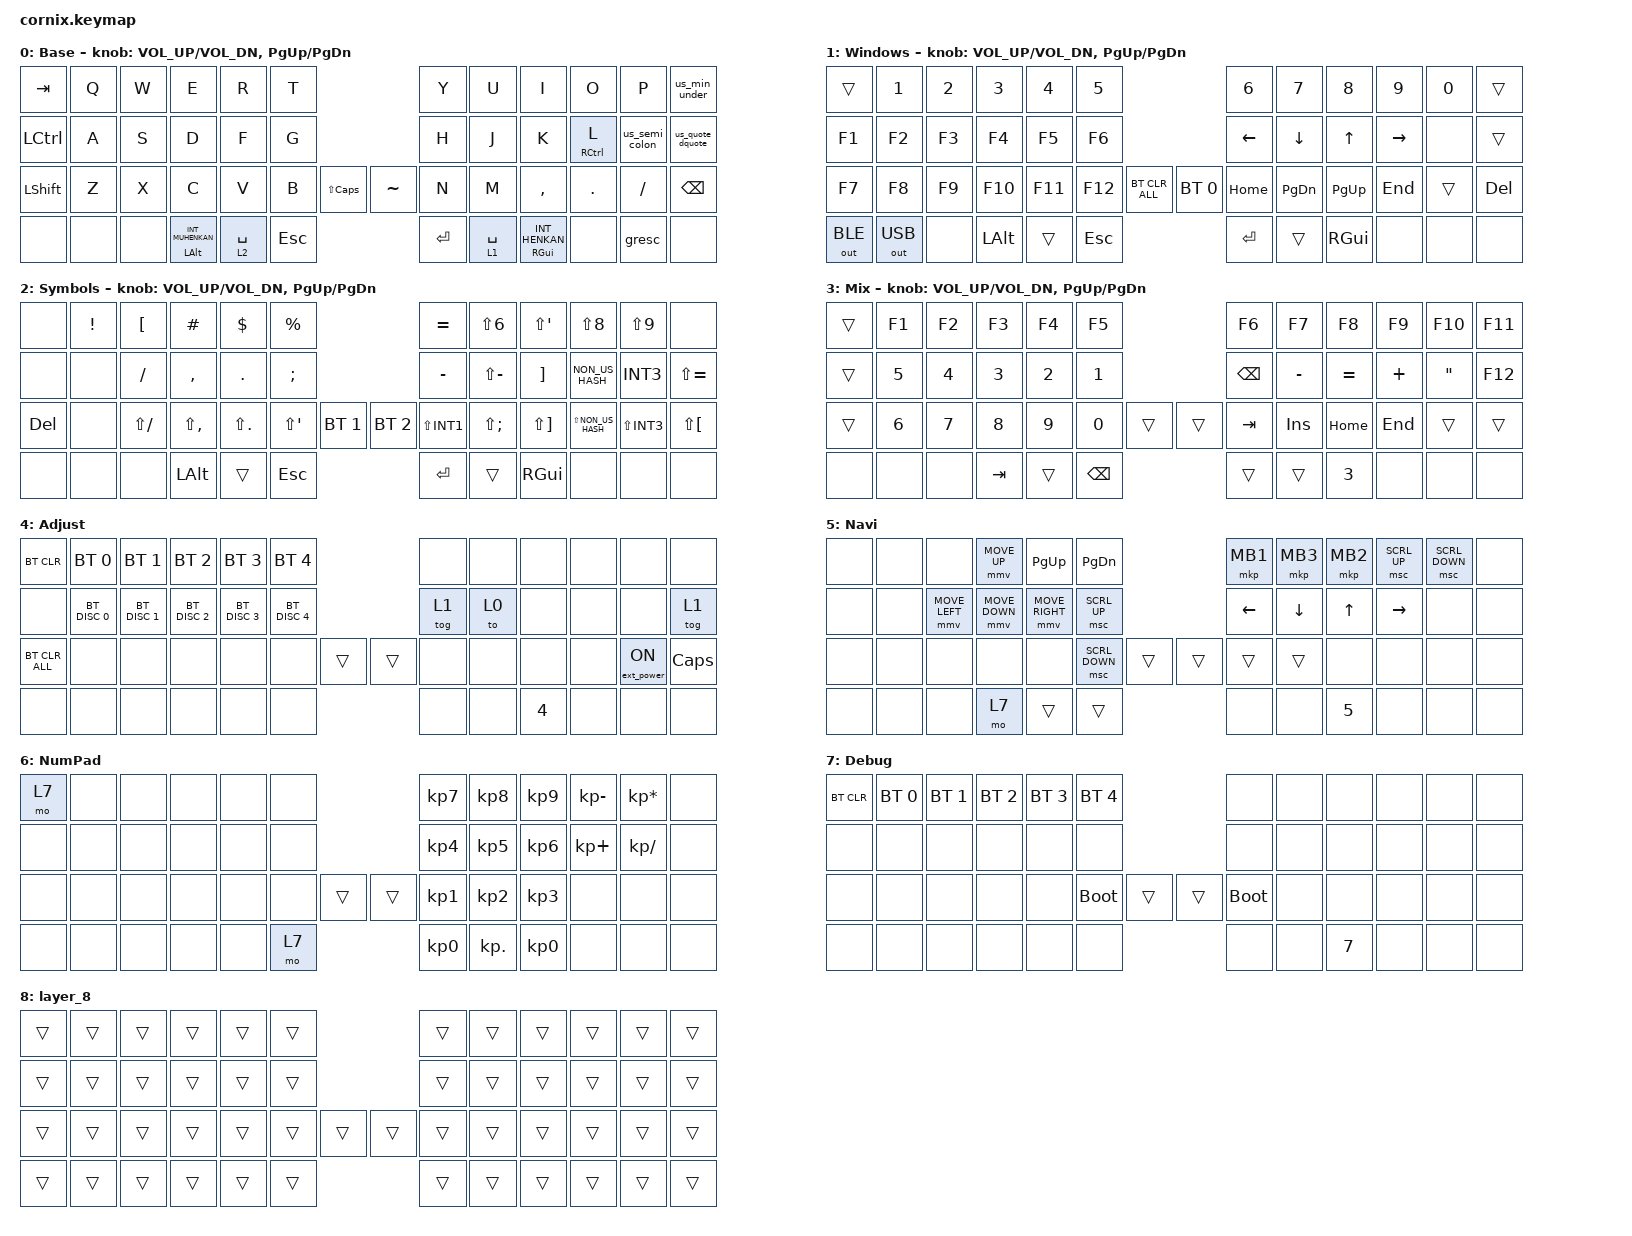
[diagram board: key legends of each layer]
/*
 * Copyright (c) 2020 The ZMK Contributors
 *
 * SPDX-License-Identifier: MIT
 */

#include "zmk-helpers/helper.h"
#include "includes/cornix54.h"

// tap windows for ctl alt and gui

#define HM_TAPPING_TERM 250
#define HM_TAPPING_REPEAT 210

// quick tapping for shift

#define HM_TAPPING_TERM_FAST 200
#define HM_PRIOR_IDLE 70
#define BASE 0
#define WIN 1
#define LOWER 2
#define RAISE 3
#define ADJUST 4
#define NAVI   5
#define NUM    6
#define DEBUG  7

// https://github.com/urob/zmk-config/tree/main#timeless-homerow-mods

#define KEYS_L LT0 LT1 LT2 LT3 LT4 LT5 LM0 LM1 LM2 LM3 LM4 LM5 LB0 LB1 LB2 LB3 LB4 LB5  // left hand
#define KEYS_R RT0 RT1 RT2 RT3 RT4 RT5 RM0 RM1 RM2 RM3 RM4 RM5 RB0 RB1 RB2 RB3 RB4 RB5  // right hand
#define THUMBS LH1 LH0 RH0 RH1
#define KEYS_T LH1 LH0 RH0 RH1
#define ZMK_POINTING_DEFAULT_SCRL_VAL 15

#include <behaviors.dtsi>
#include <dt-bindings/zmk/bt.h>
#include <dt-bindings/zmk/ext_power.h>
#include <dt-bindings/zmk/keys.h>
#include <dt-bindings/zmk/outputs.h>
#include <dt-bindings/zmk/pointing.h>

/ {
    // Activate ADJUST layer by pressing raise and lower

    behaviors {
        hm_l: homerow_mods_left {
            compatible = "zmk,behavior-hold-tap";
            #binding-cells = <2>;
            bindings = <&kp>, <&kp>;

            flavor = "balanced";
            tapping-term-ms = <HM_TAPPING_TERM>;
            quick-tap-ms = <200>;                // repeat on tap-into-hold
            require-prior-idle-ms = <HM_PRIOR_IDLE>;
            hold-trigger-key-positions = <KEYS_R KEYS_T>;
            hold-trigger-on-release;
        };

        hm_r: homerow_mods_right {
            compatible = "zmk,behavior-hold-tap";
            #binding-cells = <2>;
            bindings = <&kp>, <&kp>;

            flavor = "balanced";
            tapping-term-ms = <HM_TAPPING_TERM>;
            quick-tap-ms = <200>;
            require-prior-idle-ms = <HM_PRIOR_IDLE>;
            hold-trigger-key-positions = <KEYS_L KEYS_T>;
            hold-trigger-on-release;
        };

        // Positional Homerow mods for shift
        // Use faster tapping term and disable some features that may
        // cause false negatives.

        hm_shift_l: hm_shift_l {
            compatible = "zmk,behavior-hold-tap";
            #binding-cells = <2>;
            bindings = <&kp>, <&kp>;

            //flavor = "balanced";

            flavor = "balanced";
            tapping-term-ms = <HM_TAPPING_TERM_FAST>;
            quick-tap-ms = <200>;
            require-prior-idle-ms = <HM_PRIOR_IDLE>;
            hold-trigger-key-positions = <KEYS_R KEYS_T>;
            hold-trigger-on-release;
        };

        hm_shift_r: hm_shift_r {
            compatible = "zmk,behavior-hold-tap";
            #binding-cells = <2>;
            bindings = <&kp>, <&kp>;

            flavor = "balanced";
            tapping-term-ms = <HM_TAPPING_TERM_FAST>;
            quick-tap-ms = <200>;
            require-prior-idle-ms = <HM_PRIOR_IDLE>;
            hold-trigger-key-positions = <KEYS_L KEYS_T>;

            // for quick tapping; shift+~

            hold-trigger-on-release;
        };

        /*
         * Non-Positional Homerow Mods
         * Used for &mm_grescm_gui behavior on left hand.
         *
         * Usage: &hm LSHFT T
         * Tap: T
         * Tap-Tap-Hold: Repeat T
         * Hold: LSHIFT
         */

        hm: homerow_mods {
            compatible = "zmk,behavior-hold-tap";
            #binding-cells = <2>;
            bindings = <&kp>, <&kp>;

            flavor = "balanced";
            tapping-term-ms = <HM_TAPPING_TERM>;
            quick-tap-ms = <200>;
        };

        lt: layer_tap {
            compatible = "zmk,behavior-hold-tap";
            #binding-cells = <2>;
            bindings = <&mo>, <&kp>;

            flavor = "hold-preferred";
            tapping-term-ms = <HM_TAPPING_TERM>;
            quick-tap-ms = <200>;
        };

        // 1. USの「-」と「_」の組み合わせ

        us_min_under: us_min_under {
            compatible = "zmk,behavior-mod-morph";
            #binding-cells = <0>;
            bindings = <&kp MINUS>, <&kp LS(INT1)>;

            mods = <(MOD_LSFT|MOD_RSFT)>;
        };

        // 2. USの「;」と「:」の組み合わせ

        us_semi_colon: us_semi_colon {
            compatible = "zmk,behavior-mod-morph";
            #binding-cells = <0>;
            bindings = <&kp SEMI>, <&kp SQT>;

            mods = <(MOD_LSFT|MOD_RSFT)>;
        };

        // 3. USの「'」と「"」の組み合わせ

        us_quote_dquote: us_quote_dquote {
            compatible = "zmk,behavior-mod-morph";
            #binding-cells = <0>;
            bindings = <&kp LS(N7)>, <&kp LS(N2)>;

            mods = <(MOD_LSFT|MOD_RSFT)>;
        };
    };

    conditional_layers {
        compatible = "zmk,conditional-layers";

        adjust_layer {
            if-layers = <3 2>;
            then-layer = <4>;
        };
    };

    combos {
        compatible = "zmk,combos";

        cb_ltm {
            bindings = <&kp ESC>;
            key-positions = <2 4>;
            layers = <0 1>;
        };

        cb_lm {
            bindings = <&kp TAB>;
            key-positions = <14 16>;
            layers = <0 1>;
        };

        cb_enter {
            bindings = <&kp RET>;
            key-positions = <21 19>;
            layers = <0 1>;
        };

        layer3 {
            bindings = <&kp N3>;
            key-positions = <5 6>;
        };

        layer4 {
            bindings = <&kp N4>;
            key-positions = <5 6>;
        };
    };

    keymap {
        compatible = "zmk,keymap";

        default_layer {
            display-name = "Base";

            // ------------------------------------------------------------------------------------------------------------
            // |   `   |  1  |  2  |  3   |  4   |  5   |                   |  6   |  7    |  8    |  9   |   0   |       |
            // |  ESC  |  Q  |  W  |  E   |  R   |  T   |                   |  Y   |  U    |  I    |  O   |   P   | BKSPC |
            // |  TAB  |  A  |  S  |  D   |  F   |  G   |                   |  H   |  J    |  K    |  L   |   ;   |   '   |
            // | SHIFT |  Z  |  X  |  C   |  V   |  B   |  MUTE  |  |       |  N   |  M    |  ,    |  .   |   /   | SHIFT |
            //               | GUI | ALT  | CTRL | LOWER|  ENTER |  | SPACE | RAISE| CTRL  | ALT   | GUI  |

            bindings = <
&kp TAB         &kp Q  &kp W  &kp E                      &kp R        &kp T                                 &kp Y      &kp U        &kp I                     &kp O        &kp P           &us_min_under
&kp LCTRL       &kp A  &kp S  &kp D                      &kp F        &kp G                                 &kp H      &kp J        &kp K                     &hm RCTRL L  &us_semi_colon  &us_quote_dquote
&kp LEFT_SHIFT  &kp Z  &kp X  &kp C                      &kp V        &kp B    &kp LS(CAPSLOCK)  &kp TILDE  &kp N      &kp M        &kp COMMA                 &kp DOT      &kp FSLH        &kp BACKSPACE
&none           &none  &none  &mt LEFT_ALT INT_MUHENKAN  &lt 2 SPACE  &kp ESC                               &kp ENTER  &lt 1 SPACE  &mt RIGHT_GUI INT_HENKAN  &none        &gresc          &none
            >;

            sensor-bindings = <&inc_dec_kp C_VOL_UP C_VOL_DN &inc_dec_kp PG_UP PG_DN>;
        };

        win_layer {
            display-name = "Windows";

            // ------------------------------------------------------------------------------------------------------------
            // |   `   |  1  |  2  |  3   |  4   |  5   |                   |  6   |  7    |  8    |  9   |   0   |       |
            // |  ESC  |  Q  |  W  |  E   |  R   |  T   |                   |  Y   |  U    |  I    |  O   |   P   | BKSPC |
            // |  TAB  |  A  |  S  |  D   |  F   |  G   |                   |  H   |  J    |  K    |  L   |   ;   |   '   |
            // | SHIFT |  Z  |  X  |  C   |  V   |  B   |  MUTE  |  |       |  N   |  M    |  ,    |  .   |   /   | SHIFT |
            //               | GUI | ALT  | CTRL | LOWER|  ENTER |  | SPACE | RAISE| CTRL  | ALT   | GUI  |

            bindings = <
&trans        &kp NUMBER_1  &kp NUMBER_2  &kp NUMBER_3  &kp NUMBER_4  &kp N5                                 &kp NUMBER_6  &kp N7         &kp N8         &kp N9     &kp N0  &trans
&kp F1        &kp F2        &kp F3        &kp F4        &kp F5        &kp F6                                 &kp LEFT      &kp DOWN       &kp UP         &kp RIGHT  &none   &trans
&kp F7        &kp F8        &kp F9        &kp F10       &kp F11       &kp F12  &bt BT_CLR_ALL  &bt BT_SEL 0  &kp HOME      &kp PAGE_DOWN  &kp PAGE_UP    &kp END    &trans  &kp DEL
&out OUT_BLE  &out OUT_USB  &none         &kp LEFT_ALT  &trans        &kp ESC                                &kp ENTER     &trans         &kp RIGHT_GUI  &none      &none   &none
            >;

            sensor-bindings = <&inc_dec_kp C_VOL_UP C_VOL_DN &inc_dec_kp PG_UP PG_DN>;
        };

        Symbol_layer {
            display-name = "Symbols";

            // TODO: Some binds are waiting for shifted keycode support.
            // -------------------------------
            // |       |  F1 |  F2 |  F3  |  F4  |  F5  |                   |  F6  |  F7   |  F8   |  F9  |  F10  |  F11  |
            // |   `   |  1  |  2  |  3   |  4   |  5   |                   |  6   |  7    |  8    |  9   |   0   |  F12  |
            // |       |  !  |  @  |  #   |  $   |  %   |                   |  ^   |  &    |  *    |  (   |   )   |   |   |
            // |       |  =  |  -  |  +   |  {   |  }   |        |  |       |  [   |  ]    |  ;    |  :   |   \   |       |
            //               |     |      |      |      |        |  |       |      |       |       |      |

            bindings = <
&none    &kp EXCL  &kp LBKT       &kp HASH       &kp DLLR        &kp PRCNT                                &kp EQUAL     &kp LS(NUMBER_6)  &kp LS(SQT)    &kp LS(NUMBER_8)     &kp LS(NUMBER_9)  &none
&none    &none     &kp SLASH      &kp COMMA      &kp PERIOD      &kp SEMI                                 &kp MINUS     &kp LS(MINUS)     &kp RBKT       &kp NON_US_HASH      &kp INT3          &kp LS(EQUAL)
&kp DEL  &none     &kp LS(SLASH)  &kp LS(COMMA)  &kp LS(PERIOD)  &kp LS(SQT)  &bt BT_SEL 1  &bt BT_SEL 2  &kp LS(INT1)  &kp LS(SEMI)      &kp LS(RBKT)   &kp LS(NON_US_HASH)  &kp LS(INT3)      &kp LS(LBKT)
&none    &none     &none          &kp LEFT_ALT   &trans          &kp ESC                                  &kp ENTER     &trans            &kp RIGHT_GUI  &none                &none             &none
            >;

            sensor-bindings = <&inc_dec_kp C_VOL_UP C_VOL_DN &inc_dec_kp PG_UP PG_DN>;
        };

        Mix_layer {
            display-name = "Mix";

            // ------------------------------------------------------------------------------------------------------------
            // | BTCLR | BT1  | BT2  |  BT3  |  BT4  |  BT5 |                |      |      |       |      |       |       |
            // |       | INS  | PSCR | GUI   |       |      |                | PGUP |      |   ^   |      |       |       |
            // |       | ALT  | CTRL | SHIFT |       | CAPS |                | PGDN |   <- |   v   |  ->  |  DEL  | BKSPC |
            // |       | UNDO | CUT  | COPY  | PASTE |      |      |  |      |      |      |       |      |       |       |
            //                |      |       |       |      |      |  |      |      |      |       |      |

            bindings = <
&trans  &kp F1  &kp F2  &kp F3   &kp F4  &kp F5                         &kp F6    &kp F7     &kp F8     &kp F9    &kp F10  &kp F11
&trans  &kp N5  &kp N4  &kp N3   &kp N2  &kp N1                         &kp BSPC  &kp MINUS  &kp EQUAL  &kp PLUS  &kp DQT  &kp F12
&trans  &kp N6  &kp N7  &kp N8   &kp N9  &kp N0         &trans  &trans  &kp TAB   &kp INS    &kp HOME   &kp END   &trans   &trans
&none   &none   &none   &kp TAB  &trans  &kp BACKSPACE                  &trans    &trans     &kp N3     &none     &none    &none
            >;

            sensor-bindings = <&inc_dec_kp C_VOL_UP C_VOL_DN &inc_dec_kp PG_UP PG_DN>;
        };

        Adjust_layer {
            display-name = "Adjust";

            // ----------------------------------------------------------------------------------------------------------------------------
            // | BTCLR  |  BT1    |  BT2    |   BT3   |   BT4   |   BT5   |                  |      |      |       |      |       |       |
            // | moDEBUG| RGB_HUD | RGB_HUI | RGB_SAD | RGB_SAI | RGB_EFF |                  |      |      |       |      |       |       |
            // | EXTPWR | RGB_BRD | RGB_BRI |         |         |         |                  |      |      |       |      |       |       |
            // |        |         |         |         |         |         | RGB_TOG | |      |      |      |       |      |       |       |
            //                    |         |         |         |         |         | |      |      |      |       |      |

            bindings = <
&bt BT_CLR      &bt BT_SEL 0   &bt BT_SEL 1   &bt BT_SEL 2   &bt BT_SEL 3   &bt BT_SEL 4                   &none   &none  &none   &none  &none             &none
&none           &bt BT_DISC 0  &bt BT_DISC 1  &bt BT_DISC 2  &bt BT_DISC 3  &bt BT_DISC 4                  &tog 1  &to 0  &none   &none  &none             &tog 1
&bt BT_CLR_ALL  &none          &none          &none          &none          &none          &trans  &trans  &none   &none  &none   &none  &ext_power EP_ON  &kp CAPSLOCK
&none           &none          &none          &none          &none          &none                          &none   &none  &kp N4  &none  &none             &none
            >;
        };

        Navi_layer {
            display-name = "Navi";
            bindings = <
&none  &none  &none           &mmv MOVE_UP    &kp PAGE_UP      &kp PAGE_DOWN                   &mkp MB1  &mkp MB3  &mkp MB2  &msc SCRL_UP  &msc SCRL_DOWN  &none
&none  &none  &mmv MOVE_LEFT  &mmv MOVE_DOWN  &mmv MOVE_RIGHT  &msc SCRL_UP                    &kp LEFT  &kp DOWN  &kp UP    &kp RIGHT     &none           &none
&none  &none  &none           &none           &none            &msc SCRL_DOWN  &trans  &trans  &trans    &trans    &none     &none         &none           &none
&none  &none  &none           &mo 7           &trans           &trans                          &none     &none     &kp N5    &none         &none           &none
            >;
        };

        KeyPad_layer {
            display-name = "NumPad";
            bindings = <
&mo 7  &none  &none  &none  &none  &none                  &kp KP_N7        &kp KP_N8        &kp KP_N9        &kp KP_MINUS  &kp KP_MULTIPLY  &none
&none  &none  &none  &none  &none  &none                  &kp KP_NUMBER_4  &kp KP_NUMBER_5  &kp KP_N6        &kp KP_PLUS   &kp KP_DIVIDE    &none
&none  &none  &none  &none  &none  &none  &trans  &trans  &kp KP_NUMBER_1  &kp KP_NUMBER_2  &kp KP_N3        &none         &none            &none
&none  &none  &none  &none  &none  &mo 7                  &kp KP_N0        &kp KP_DOT       &kp KP_NUMBER_0  &none         &none            &none
            >;
        };

        Debug_layer {
            display-name = "Debug";

            // ----------------------------------------------------------------------------------------------------------------------------
            // | BTCLR  |  BT1    |  BT2    |   BT3   |   BT4   |   BT5   |                  |      |      |       |      |       |       |
            // | EXTPWR | BTCLR | RGB_HUI | RGB_SAD | RGB_SAI | RGB_EFF |                  |      |      |       |      |       |       |
            // |        | RGB_BRD | RGB_BRI |         |         |         |                  |      |      |       |      |       |       |
            // |        |         |         |         |         |         | RGB_TOG | |      |      |      |       |      |       |       |
            //                    |         |         |         |         |         | |      |      |      |       |      |

            bindings = <
&bt BT_CLR  &bt BT_SEL 0  &bt BT_SEL 1  &bt BT_SEL 2  &bt BT_SEL 3  &bt BT_SEL 4                  &none        &none  &none   &none  &none  &none
&none       &none         &none         &none         &none         &none                         &none        &none  &none   &none  &none  &none
&none       &none         &none         &none         &none         &bootloader   &trans  &trans  &bootloader  &none  &none   &none  &none  &none
&none       &none         &none         &none         &none         &none                         &none        &none  &kp N7  &none  &none  &none
            >;
        };

        layer_8 {
            bindings = <
&trans  &trans  &trans  &trans  &trans  &trans                  &trans  &trans  &trans  &trans  &trans  &trans
&trans  &trans  &trans  &trans  &trans  &trans                  &trans  &trans  &trans  &trans  &trans  &trans
&trans  &trans  &trans  &trans  &trans  &trans  &trans  &trans  &trans  &trans  &trans  &trans  &trans  &trans
&trans  &trans  &trans  &trans  &trans  &trans                  &trans  &trans  &trans  &trans  &trans  &trans
            >;
        };
    };
};
